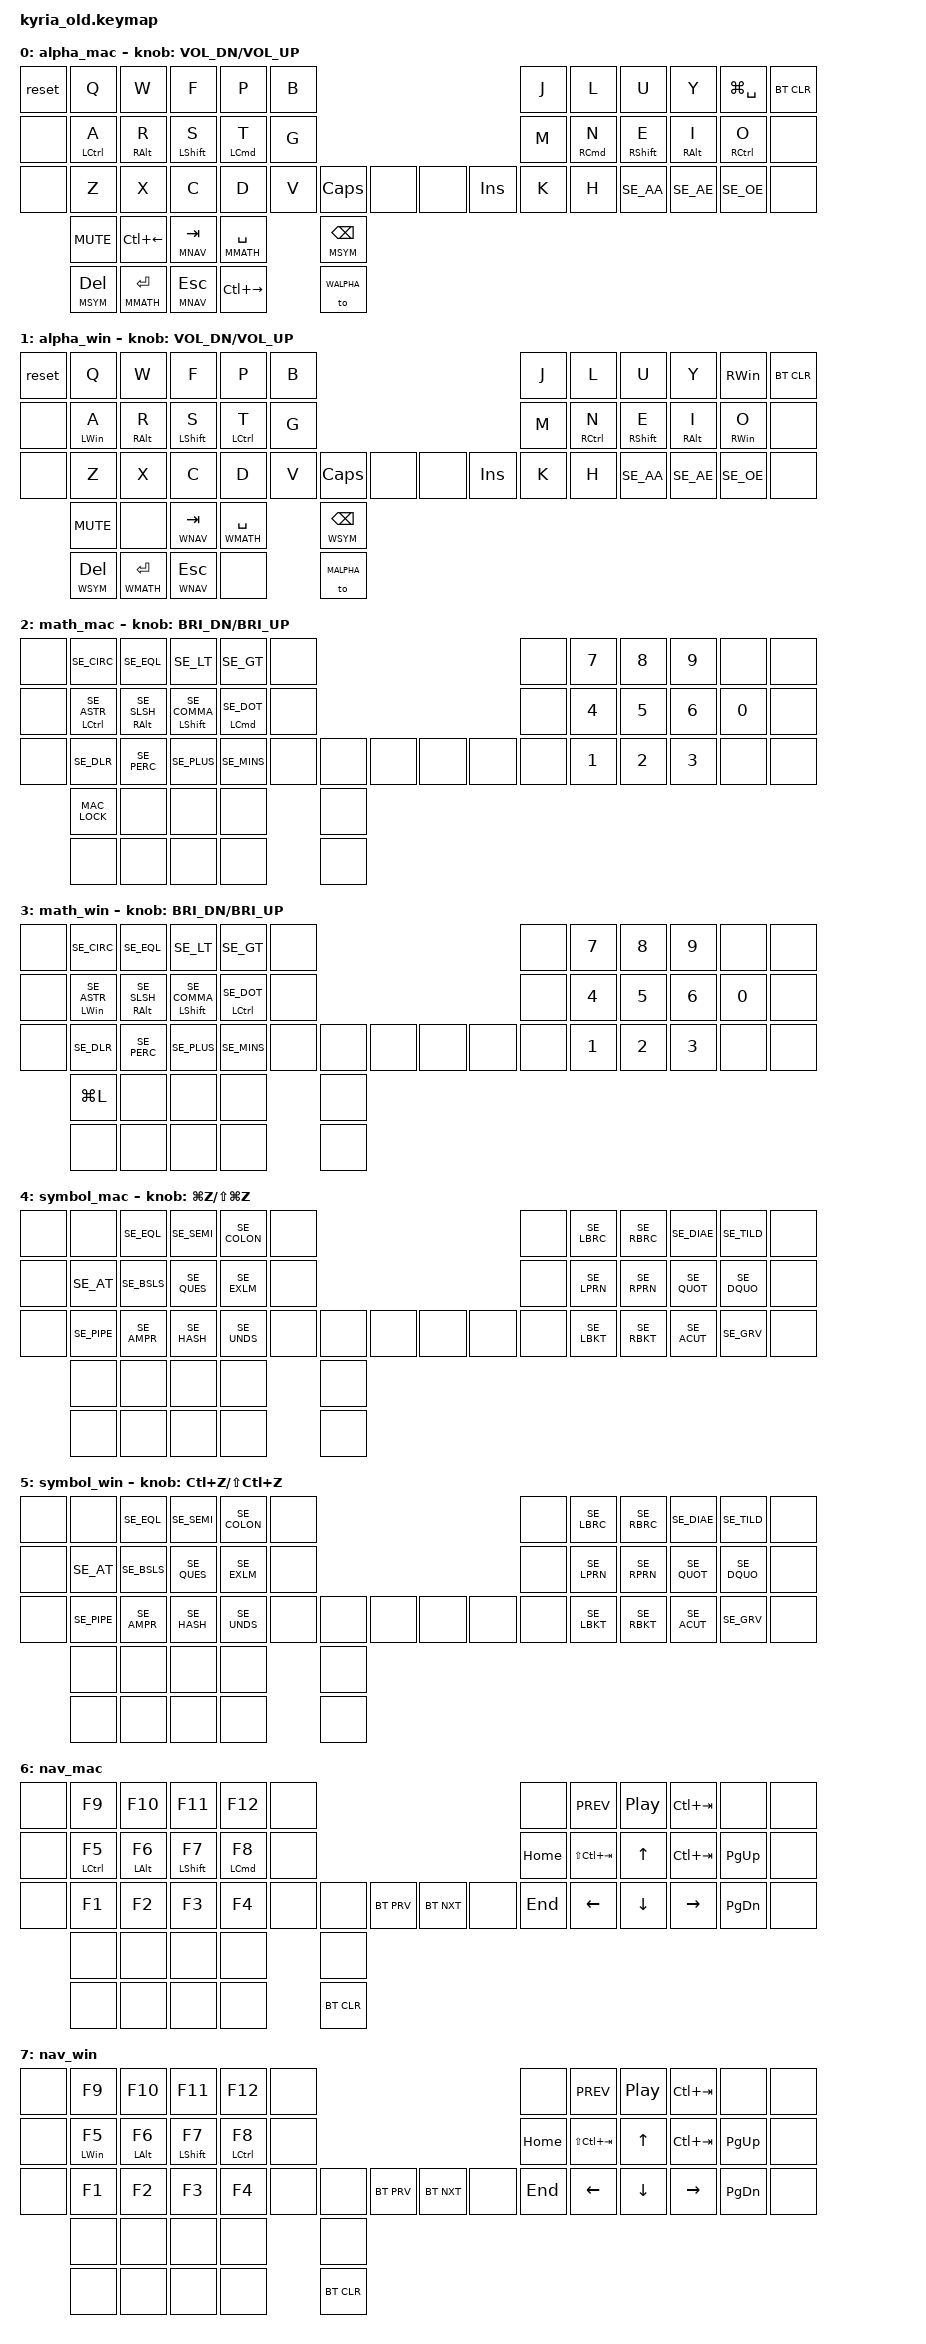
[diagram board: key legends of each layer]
/*
 * Copyright (c) 2020 The ZMK Contributors
 *
 * SPDX-License-Identifier: MIT
 */

#include <behaviors.dtsi>
#include <dt-bindings/zmk/keys.h>
#include "keymap-swedish.h"
#include <dt-bindings/zmk/bt.h>

#define MALPHA 0
#define WALPHA 1

#define MMATH  2
#define WMATH  3

#define MSYM   4
#define WSYM   5

#define MNAV   6 
#define WNAV   7 


#define LL(layer) &ll layer layer

/ {
	behaviors {
		ll: layer_layer {
			compatible = "zmk,behavior-hold-tap";
			label = "LAYER_LAYER";
			#binding-cells = <2>;
			tapping_term_ms = <0>;
			quick_tap_ms = <0>;
			flavor = "hold-preferred";
			bindings = <&mo>, <&to>;
		};
		ld: layer_double_tap {
			compatible = "zmk,behavior-hold-tap";
			label = "LAYER_DOUBLE_TAP";
			#binding-cells = <2>;
			tapping_term_ms = <200>;
			quick_tap_ms = <200>;
			flavor = "balanced";
			bindings = <&mo>, <&kp>;
		};
		hm: homerow_mods {
			compatible = "zmk,behavior-hold-tap";
			label = "HOMEROW_MODS";
			#binding-cells = <2>;
			tapping-term-ms = <200>;
			quick_tap_ms = <0>;
			flavor = "balanced";
			bindings = <&kp>, <&kp>;
		};
  };
};

/ {
	keymap {
		compatible = "zmk,keymap";

		// ALPHA
		// ┌───────┬───────┬───────┬───────┬───────┬───────┐                                       ┌───────┬───────┬───────┬───────┬───────┬───────┐
		// │       │   Q   │   W   │   F   │   P   │   B   │                                       │   J   │   L   │   U   │   Y   │  MENU │       │
		// ├───────┼───────┼───────┼───────┼───────┼───────┤                                       ├───────┼───────┼───────┼───────┼───────┼───────┤
		// │       │  CTRL │  ALT  │ SHIFT │  CMD  │       │                                       │       │  CMD  │ SHIFT │  ALT  │  CTRL │       │
		// │       │   A   │   R   │   S   │   T   │   G   │                                       │   M   │   N   │   E   │   I   │   O   │       │
		// ├───────┼───────┼───────┼───────┼───────┼───────┼───────┬───────┐       ┌───────┬───────┼───────┼───────┼───────┼───────┼───────┼───────┤
		// │       │   Z   │   X   │   C   │   D   │   V   │  CAPS │       │       │       │  INS  │   K   │   H   │   Å   │  Ä/Ø  │  Ö/Æ  │       │
		// └───────┴───────┴───────┼───────┼───────┼───────┼───────┼───────┤       ├───────┼───────┼───────┼───────┼───────┼───────┴───────┴───────┘
		//                         │  VOL  │       │  NAV  │  MATH │  SYM  │       │  SYM  │  MATH │  NAV  │       │  WIN  │
		//                         │  MUTE │ LDESK │  TAB  │ SPACE │  BSPC │       │  DEL  │ ENTER │  ESC  │ RDESK │  MAC  │
		//                         └───────┴───────┴───────┴───────┴───────┘       └───────┴───────┴───────┴───────┴───────┘

		alpha_mac {
			bindings = <
				&reset &kp Q       &kp W      &kp F       &kp P      &kp B                                     &kp J &kp L      &kp U       &kp Y      &kp LG(SPACE) &bt BT_CLR
				&none  &hm LCTRL A &hm RALT R &hm LSHFT S &hm LCMD T &kp G                                     &kp M &hm RCMD N &hm RSHFT E &hm RALT I &hm RCTRL O   &none
				&none  &kp Z       &kp X      &kp C       &kp D      &kp V &kp CAPS &none        &none &kp INS &kp K &kp H      &kp SE_AA   &kp SE_AE  &kp SE_OE     &none
					&kp C_MUTE &kp LC(LEFT) &ld MNAV TAB &ld MMATH SPACE &ld MSYM BSPC    
					&ld MSYM DEL &ld MMATH RET &ld MNAV ESC &kp LC(RIGHT) &to WALPHA
			>;
			sensor-bindings = <&inc_dec_kp C_VOL_DN C_VOL_UP>;
		};

		alpha_win {
			bindings = <
				&reset &kp Q       &kp W      &kp F       &kp P      &kp B                                     &kp J &kp L       &kp U       &kp Y      &kp RWIN     &bt BT_CLR
				&none  &hm LWIN A &hm RALT R &hm LSHFT S &hm LCTRL T &kp G                                     &kp M &hm RCTRL N &hm RSHFT E &hm RALT I &hm RWIN O   &none
				&none  &kp Z       &kp X      &kp C       &kp D      &kp V &kp CAPS &none        &none &kp INS &kp K &kp H       &kp SE_AA   &kp SE_AE  &kp SE_OE    &none
					&kp C_MUTE &none &ld WNAV TAB &ld WMATH SPACE &ld WSYM BSPC    
					&ld WSYM DEL &ld WMATH RET &ld WNAV ESC &none &to MALPHA
			>;
			sensor-bindings = <&inc_dec_kp C_VOL_DN C_VOL_UP>;
		};

		// MATH
		// ┌───────┬───────┬───────┬───────┬───────┬───────┐                                       ┌───────┬───────┬───────┬───────┬───────┬───────┐
		// │       │   ^   │   =   │   <   │   >   │       │                                       │       │   7   │   8   │   9   │       │       │
		// ├───────┼───────┼───────┼───────┼───────┼───────┤                                       ├───────┼───────┼───────┼───────┼───────┼───────┤
		// │       │  CTRL │  ALT  │ SHIFT │  CMD  │       │                                       │       │       │       │       │       │       │
		// │       │   *   │   /   │   ,   │   .   │       │                                       │       │   4   │   5   │   6   │   0   │       │
		// ├───────┼───────┼───────┼───────┼───────┼───────┼───────┬───────┐       ┌───────┬───────┼───────┼───────┼───────┼───────┼───────┼───────┤
		// │       │   $   │   %   │   +   │   -   │       │       │       │       │       │       │       │   1   │   2   │   3   │       │       │
		// └───────┴───────┴───────┼───────┼───────┼───────┼───────┼───────┤       ├───────┼───────┼───────┼───────┼───────┼───────┴───────┴───────┘
		//                         │  BRI  │       │  NAV  │  MATH │  SYM  │       │  SYM  │  MATH │  NAV  │       │       │
		//                         │  LOCK │       │  TAB  │ SPACE │  BSPC │       │  DEL  │ ENTER │  ESC  │       │       │
		//                         └───────┴───────┴───────┴───────┴───────┘       └───────┴───────┴───────┴───────┴───────┘

		math_mac {
			bindings = <
				&none &kp SE_CIRC       &kp SE_EQL       &kp SE_LT          &kp SE_GT       &none                             &none  &kp N7 &kp N8 &kp N9 &none  &none
				&none &hm LCTRL SE_ASTR &hm RALT SE_SLSH &hm LSHFT SE_COMMA &hm LCMD SE_DOT &none                             &none  &kp N4 &kp N5 &kp N6 &kp N0 &none
				&none &kp SE_DLR        &kp SE_PERC      &kp SE_PLUS        &kp SE_MINS     &none  &none &none    &none &none &none  &kp N1 &kp N2 &kp N3 &none  &none
					&kp MAC_LOCK &none &none &none &none
					&none        &none &none &none &none
			>;
			sensor-bindings = < &inc_dec_kp C_BRI_DN C_BRI_UP>;
		};

		math_win {
			bindings = <
				&none &kp SE_CIRC       &kp SE_EQL       &kp SE_LT          &kp SE_GT        &none                             &none  &kp N7 &kp N8 &kp N9 &none  &none
				&none &hm LWIN SE_ASTR  &hm RALT SE_SLSH &hm LSHFT SE_COMMA &hm LCTRL SE_DOT &none                             &none  &kp N4 &kp N5 &kp N6 &kp N0 &none
				&none &kp SE_DLR        &kp SE_PERC      &kp SE_PLUS        &kp SE_MINS      &none  &none &none    &none &none &none  &kp N1 &kp N2 &kp N3 &none  &none
					&kp LG(L) &none &none &none &none
					&none     &none &none &none &none
			>;
			sensor-bindings = < &inc_dec_kp C_BRI_DN C_BRI_UP>;
		};


		// SYM                                                                                                                 ^
		// ┌───────┬───────┬───────┬───────┬───────┬───────┐                                       ┌───────┬───────┬───────┬───────┬───────┬───────┐
		// │       │       │   =   │   ;   │   :   │       │                                       │       │   {   │   }   │   ¨   │   ~   │       │
		// ├───────┼───────┼───────┼───────┼───────┼───────┤                                       ├───────┼───────┼───────┼───────┼───────┼───────┤
		// │       │       │       │       │       │       │                                       │       │       │       │       │       │       │
		// │       │   @   │   \   │   ?   │   !   │       │                                       │       │   (   │   )   │   '   │   "   │       │
		// ├───────┼───────┼───────┼───────┼───────┼───────┼───────┬───────┐       ┌───────┬───────┼───────┼───────┼───────┼───────┼───────┼───────┤
		// │       │   |   │   &   │   #   │   _   │       │       │       │       │       │       │       │   [   │   ]   │   ´   │   `   │       │
		// └───────┴───────┴───────┼───────┼───────┼───────┼───────┼───────┤       ├───────┼───────┼───────┼───────┼───────┼───────┴───────┴───────┘
		//                         │ SCRUB │       │  NAV  │  MATH │  SYM  │       │  SYM  │  MATH │  NAV  │       │       │
		//                         │       │       │  TAB  │ SPACE │  BSPC │       │  DEL  │ ENTER │  ESC  │       │       │
		//                         └───────┴───────┴───────┴───────┴───────┘       └───────┴───────┴───────┴───────┴───────┘

		symbol_mac {
			bindings = <
				&none &none       &kp SE_EQL  &kp SE_SEMI &kp SE_COLON &none                             &none  &kp SE_LBRC &kp SE_RBRC &kp SE_DIAE &kp SE_TILD &none
				&none &kp SE_AT   &kp SE_BSLS &kp SE_QUES &kp SE_EXLM  &none                             &none  &kp SE_LPRN &kp SE_RPRN &kp SE_QUOT &kp SE_DQUO &none
				&none &kp SE_PIPE &kp SE_AMPR &kp SE_HASH &kp SE_UNDS  &none  &none &none    &none &none &none  &kp SE_LBKT &kp SE_RBKT &kp SE_ACUT &kp SE_GRV  &none
					&none &none &none &none &none
					&none &none &none &none &none
			>;
			sensor-bindings = <&inc_dec_kp LG(Z) LS(LG(Z))>;
		};

		symbol_win {
			bindings = <
				&none &none       &kp SE_EQL  &kp SE_SEMI &kp SE_COLON &none                             &none  &kp SE_LBRC &kp SE_RBRC &kp SE_DIAE &kp SE_TILD &none
				&none &kp SE_AT   &kp SE_BSLS &kp SE_QUES &kp SE_EXLM  &none                             &none  &kp SE_LPRN &kp SE_RPRN &kp SE_QUOT &kp SE_DQUO &none
				&none &kp SE_PIPE &kp SE_AMPR &kp SE_HASH &kp SE_UNDS  &none  &none &none    &none &none &none  &kp SE_LBKT &kp SE_RBKT &kp SE_ACUT &kp SE_GRV  &none
					&none &none &none &none &none
					&none &none &none &none &none
			>;
			sensor-bindings = <&inc_dec_kp LC(Z) LS(LC(Z))>;
		};

		// NAV
		// ┌───────┬───────┬───────┬───────┬───────┬───────┐                                       ┌───────┬───────┬───────┬───────┬───────┬───────┐
		// │       │   F9  │  F10  │  F11  │  F12  │       │                                       │       │  PREV │ PL/PS │  NEXT │       │       │
		// ├───────┼───────┼───────┼───────┼───────┼───────┤                                       ├───────┼───────┼───────┼───────┼───────┼───────┤
		// │       │  CTRL │  ALT  │ SHIFT │  CMD  │       │                                       │       │       │       │       │       │       │
		// │       │   F5  │   F6  │   F7  │   F8  │       │                                       │  HOME │  LTAB │   ↑   │  RTAB │  PGUP │       │
		// ├───────┼───────┼───────┼───────┼───────┼───────┼───────┬───────┐       ┌───────┬───────┼───────┼───────┼───────┼───────┼───────┼───────┤
		// │       │   F1  │   F2  │   F3  │   F4  │       │       │ BTPRV │       │ BTNXT │       │  END  │   ←   │   ↓   │   →   │  PGDN │       │
		// └───────┴───────┴───────┼───────┼───────┼───────┼───────┼───────┤       ├───────┼───────┼───────┼───────┼───────┼───────┴───────┴───────┘
		//                         │       │       │  NAV  │  SYM  │  MATH │       │  MATH │  SYM  │  NAV  │       │ RESET │
		//                         │       │       │  TAB  │ SPACE │  BSPC │       │  DEL  │ ENTER │  ESC  │       │  BLT  │
		//                         └───────┴───────┴───────┴───────┴───────┘       └───────┴───────┴───────┴───────┴───────┘

		nav_mac {
			bindings = <
				&none &kp       F9 &kp     F10 &kp      F11 &kp     F12 &none                                        &none    &kp C_PREV      &kp C_PP &kp LC(TAB) &none     &none
				&none &hm LCTRL F5 &hm LALT F6 &hm LSHFT F7 &hm LCMD F8 &none                                        &kp HOME &kp LS(LC(TAB)) &kp UP   &kp LC(TAB) &kp PG_UP &none
				&none &kp       F1 &kp      F2 &kp       F3 &kp      F4 &none  &none &bt BT_PRV     &bt BT_NXT &none &kp END  &kp LEFT        &kp DOWN &kp RIGHT   &kp PG_DN &none
					&none &none &none &none &none
					&none &none &none &none &bt BT_CLR
			>;
			// sensor-bindings = <&none &none>;
		};

		nav_win {
			bindings = <
				&none &kp       F9 &kp     F10 &kp      F11 &kp      F12 &none                                        &none    &kp C_PREV      &kp C_PP &kp LC(TAB) &none     &none
				&none &hm LWIN  F5 &hm LALT F6 &hm LSHFT F7 &hm LCTRL F8 &none                                        &kp HOME &kp LS(LC(TAB)) &kp UP   &kp LC(TAB) &kp PG_UP &none
				&none &kp       F1 &kp      F2 &kp       F3 &kp       F4 &none  &none &bt BT_PRV     &bt BT_NXT &none &kp END  &kp LEFT        &kp DOWN &kp RIGHT   &kp PG_DN &none
					&none &none &none &none &none
					&none &none &none &none &bt BT_CLR
			>;
			// sensor-bindings = <&none &none>;
		};
	};
};

















//	=== Gaming ===
//		gaming_layer {
// -------------------------------------------                                          ----------------------------------------------
// │    │   1    │  2   │  3   │  4   │  5   │                                          │       │      │      │      │       │       │
// -------------------------------------------                                          ----------------------------------------------
// │ H  │ SHIFT  │  A   │  W   │  D   │  Q   │                                          │       │      │      │      │       │       │
// ---------------------------------------------------------------  ------------------------------------------------------------------
// │ X  │ CTRL/C │  Q   │  S   │  R   │  G   │   ESC   │    B    │  │         │         │       │      │      │      │       │       │
// ---------------------------------------------------------------  ------------------------------------------------------------------
//                      │      │      │  F   │  SPACE  │    E    │  │         │         │       │      │      │ UNFINISHED!
//                      ------------------------------------------  -------------------------------------------
//			bindings = <
//	&kp C_MUTE &none  &kp C_PREV &kp C_PP  &kp C_NECT &none                                          &none &none &none &none &none &none
//	&none      &kp AT &kp PRCNT  &kp DLLR  &kp HASH   &none                                          &none &none &none &none &none &none
//	&none      &none  &none      &kp TILDE &none      &none &kp ESC &kp CAPS     &kp LSHFT &kp LSHFT &none &none &none &none &none &none

//	&mt LALT TAB &mt LCTRL RET    &mt LGUI BSPC &mt LSHIFT SPACE &to ALPHA
//	&to ALPHA    &mt LSHIFT SPACE &mt LGUI BSPC &mt LCTRL RET    &mt LALT TAB
//			>;

//			sensor-bindings = <&inc_dec_kp C_VOL_DN C_VOL_UP &inc_dec_kp LG(Z) LA(LG(Z))>;
//		};


// TEMPLATE
// ┌───────┬───────┬───────┬───────┬───────┬───────┐                                       ┌───────┬───────┬───────┬───────┬───────┬───────┐
// │       │       │       │       │       │       │                                       │       │       │       │       │       │       │
// ├───────┼───────┼───────┼───────┼───────┼───────┤                                       ├───────┼───────┼───────┼───────┼───────┼───────┤
// │       │       │       │       │       │       │                                       │       │       │       │       │       │       │
// │       │       │       │       │       │       │                                       │       │       │       │       │       │       │
// ├───────┼───────┼───────┼───────┼───────┼───────┼───────┬───────┐       ┌───────┬───────┼───────┼───────┼───────┼───────┼───────┼───────┤
// │       │       │       │       │       │       │       │       │       │       │       │       │       │       │       │       │       │
// └───────┴───────┴───────┼───────┼───────┼───────┼───────┼───────┤       ├───────┼───────┼───────┼───────┼───────┼───────┴───────┴───────┘
//                         │       │       │       │       │       │       │       │       │       │       │       │
//                         │       │       │       │       │       │       │       │       │       │       │       │
//                         └───────┴───────┴───────┴───────┴───────┘       └───────┴───────┴───────┴───────┴───────┘

